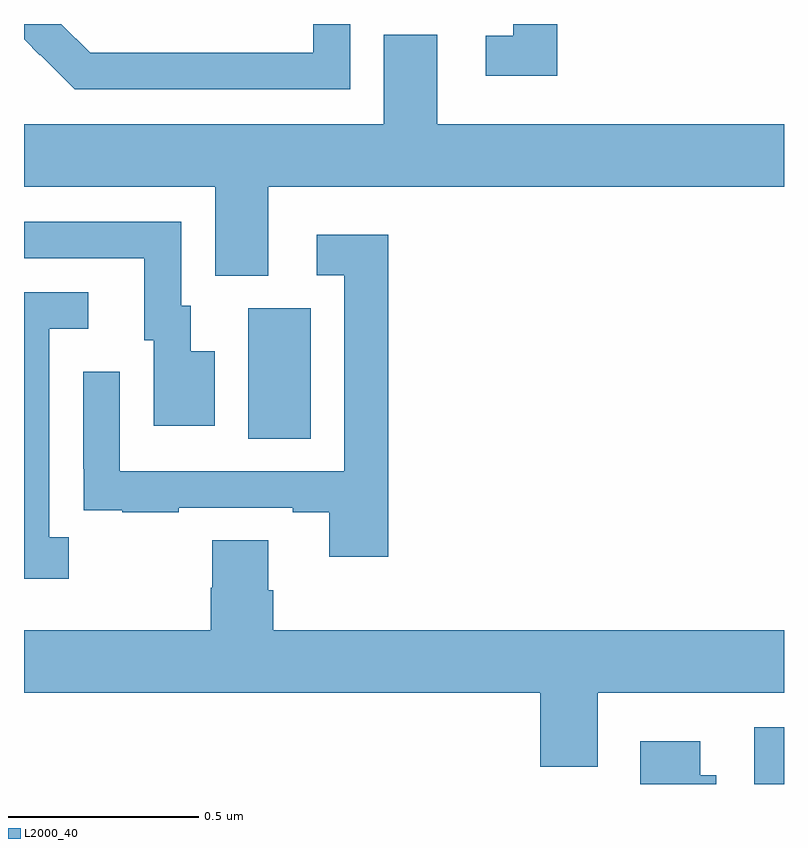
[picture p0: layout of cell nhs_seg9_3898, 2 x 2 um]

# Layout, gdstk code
import gdstk
lib = gdstk.Library(unit=1e-6, precision=1e-09)
def R(c, l, rs):  # rectangles x0, y0, x1, y1
    for r in rs: c.add(gdstk.rectangle(r[:2], r[2:], *l))
def P(c, l, *ps):  # polygons
    for p in ps: c.add(gdstk.Polygon(p, *l))
L2000_40 = (2000, 40)

nhs_seg9_3898 = lib.new_cell('nhs_seg9_3898')
R(nhs_seg9_3898, L2000_40, [(160.922,1209.5,161,1209.649), (159.59,1210.408,159.754,1210.752)])
P(nhs_seg9_3898, L2000_40, [(159.858,1211.5),(159.761,1211.5),(159.761,1211.424),(159.277,1211.424),(159.277,1211.425),(159.174,1211.425),(159.098,1211.5),(159,1211.5),(159,1211.46),(159.042,1211.418),(159.043,1211.419),(159.134,1211.328),(159.858,1211.328)],
  [(160.403,1211.5),(160.287,1211.5),(160.287,1211.469),(160.215,1211.469),(160.215,1211.364),(160.403,1211.364)],
  [(159.643,1211.072),(161,1211.072),(161,1211.236),(160.087,1211.236),(160.087,1211.472),(159.947,1211.472),(159.947,1211.236),(159,1211.236),(159,1211.072),(159.503,1211.072),(159.503,1210.837),(159.643,1210.837)],
  [(159.502,1210.639),(159.439,1210.639),(159.439,1210.758),(159.414,1210.758),(159.414,1210.98),(159,1210.98),(159,1210.884),(159.317,1210.884),(159.317,1210.668),(159.341,1210.668),(159.341,1210.443),(159.502,1210.443)],
  [(159.959,1210.945),(159.771,1210.945),(159.771,1210.839),(159.843,1210.839),(159.843,1210.323),(159.252,1210.323),(159.252,1210.585),(159.156,1210.585),(159.156,1210.33),(159.157,1210.33),(159.157,1210.221),(159.259,1210.221),(159.259,1210.215),(159.407,1210.215),(159.407,1210.227),(159.707,1210.227),(159.707,1210.215),(159.803,1210.215),(159.803,1210.098),(159.959,1210.098)],
  [(159.118,1210.15),(159.066,1210.15),(159.066,1210.698),(159.169,1210.698),(159.169,1210.794),(159,1210.794),(159,1210.04),(159.118,1210.04)],
  [(160.51,1209.74),(161,1209.74),(161,1209.904),(159.656,1209.904),(159.656,1210.01),(159.643,1210.01),(159.643,1210.142),(159.496,1210.142),(159.496,1210.017),(159.491,1210.017),(159.491,1209.904),(159,1209.904),(159,1209.74),(160.358,1209.74),(160.358,1209.546),(160.51,1209.546)],
  [(160.822,1209.523),(160.78,1209.523),(160.78,1209.613),(160.622,1209.613),(160.622,1209.5),(160.822,1209.5)])

lib.write_gds('nhs_seg9_3898.gds')
